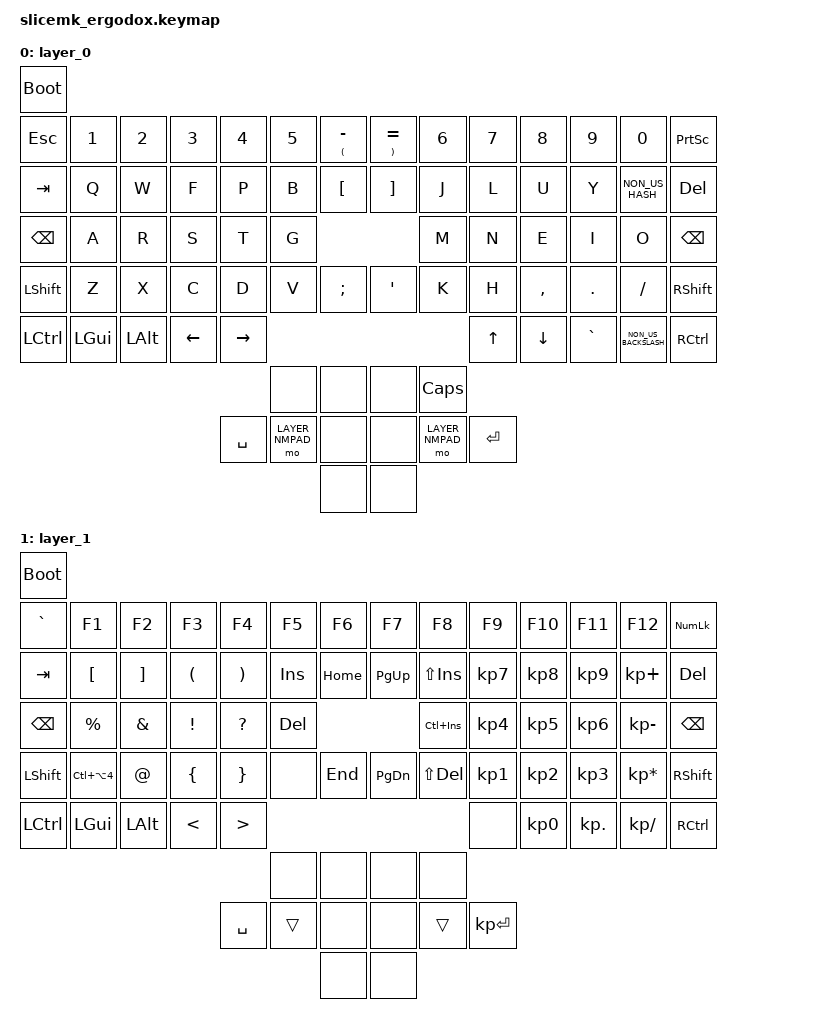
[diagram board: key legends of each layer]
#define LAYER_MAIN 0
#define LAYER_NMPAD 1

#include <behaviors.dtsi>
#include <dt-bindings/zmk/bt.h>
#include <dt-bindings/zmk/keys.h>
#include <dt-bindings/zmk/mouse.h>
#include <dt-bindings/zmk/outputs.h>
#include <dt-bindings/zmk/rgb.h>

/ {
	keymap {
		compatible = "zmk,keymap";
		layer_0 {
			bindings = <
				&bootloader
				&kp ESCAPE       &kp NUMBER_1 &kp NUMBER_2 &kp NUMBER_3   &kp NUMBER_4    &kp NUMBER_5    &mt LEFT_PARENTHESIS MINUS &mt RIGHT_PARENTHESIS EQUAL &kp NUMBER_6    &kp NUMBER_7 &kp NUMBER_8   &kp NUMBER_9 &kp NUMBER_0         &kp PRINTSCREEN
				&kp TAB          &kp Q        &kp W        &kp F          &kp P           &kp B           &kp LEFT_BRACKET           &kp RIGHT_BRACKET           &kp J           &kp L        &kp U          &kp Y        &kp NON_US_HASH      &kp DELETE
				&kp BACKSPACE    &kp A        &kp R        &kp S          &kp T           &kp G                                                                  &kp M           &kp N        &kp E          &kp I        &kp O                &kp BACKSPACE
				&kp LEFT_SHIFT   &kp Z        &kp X        &kp C          &kp D           &kp V           &kp SEMICOLON              &kp SINGLE_QUOTE            &kp K           &kp H        &kp COMMA      &kp PERIOD   &kp SLASH            &kp RIGHT_SHIFT
				&kp LEFT_CONTROL &kp LEFT_GUI &kp LEFT_ALT &kp LEFT_ARROW &kp RIGHT_ARROW                                                                                        &kp UP_ARROW &kp DOWN_ARROW &kp GRAVE    &kp NON_US_BACKSLASH &kp RIGHT_CONTROL
				                                                                          &none           &none                      &none                       &kp CAPSLOCK
				                                                          &kp SPACE       &mo LAYER_NMPAD &none                      &none                       &mo LAYER_NMPAD &kp RETURN
				                                                                                          &none                      &none
			>;
		};
		layer_1 {
			bindings = <
				&bootloader
				&kp GRAVE        &kp F1               &kp F2            &kp F3               &kp F4                &kp F5     &kp F6   &kp F7        &kp F8         &kp F9          &kp F10         &kp F11         &kp F12         &kp KP_NUMLOCK
				&kp TAB          &kp LEFT_BRACKET     &kp RIGHT_BRACKET &kp LEFT_PARENTHESIS &kp RIGHT_PARENTHESIS &kp INSERT &kp HOME &kp PAGE_UP   &kp LS(INSERT) &kp KP_NUMBER_7 &kp KP_NUMBER_8 &kp KP_NUMBER_9 &kp KP_PLUS     &kp DELETE
				&kp BACKSPACE    &kp PERCENT          &kp AMPERSAND     &kp EXCLAMATION      &kp QUESTION          &kp DELETE                        &kp LC(INSERT) &kp KP_NUMBER_4 &kp KP_NUMBER_5 &kp KP_NUMBER_6 &kp KP_MINUS    &kp BACKSPACE
				&kp LEFT_SHIFT   &kp LC(LA(NUMBER_4)) &kp AT_SIGN       &kp LEFT_BRACE       &kp RIGHT_BRACE       &none      &kp END  &kp PAGE_DOWN &kp LS(DELETE) &kp KP_NUMBER_1 &kp KP_NUMBER_2 &kp KP_NUMBER_3 &kp KP_MULTIPLY &kp RIGHT_SHIFT
				&kp LEFT_CONTROL &kp LEFT_GUI         &kp LEFT_ALT      &kp LESS_THAN        &kp GREATER_THAN                                                       &none           &kp KP_NUMBER_0 &kp KP_DOT      &kp KP_DIVIDE   &kp RIGHT_CONTROL
				                                                                                                   &none      &none    &none         &none
				                                                                             &kp SPACE             &trans     &none    &none         &trans         &kp KP_ENTER
				                                                                                                              &none    &none
			>;
		};
	};
};
